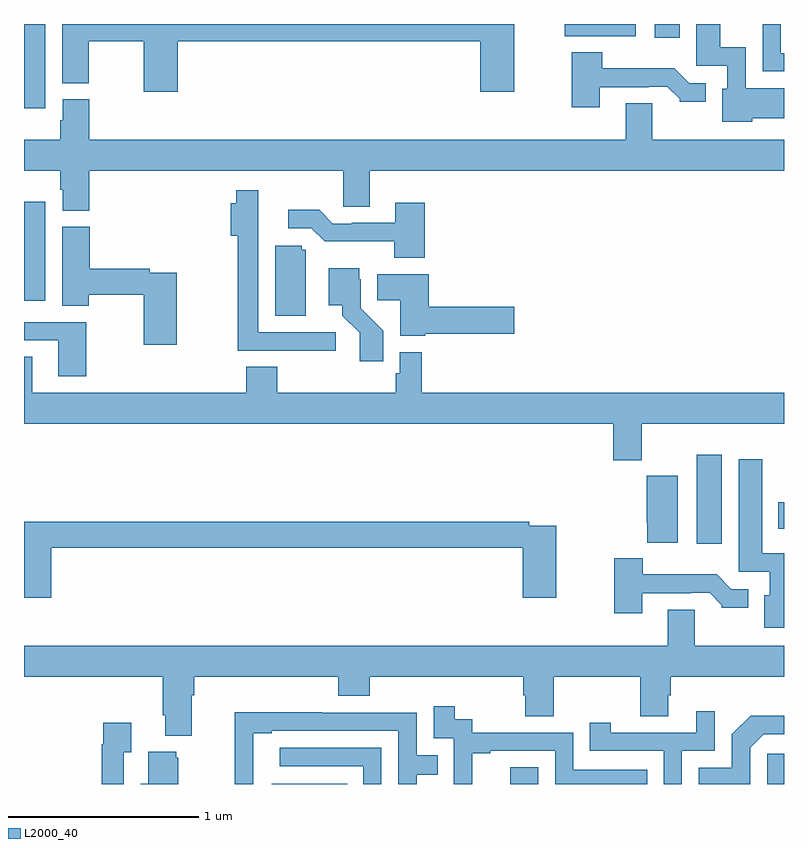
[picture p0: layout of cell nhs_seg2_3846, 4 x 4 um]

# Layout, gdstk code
import gdstk
lib = gdstk.Library(unit=1e-6, precision=1e-09)
def R(c, l, rs):  # rectangles x0, y0, x1, y1
    for r in rs: c.add(gdstk.rectangle(r[:2], r[2:], *l))
def P(c, l, *ps):  # polygons
    for p in ps: c.add(gdstk.Polygon(p, *l))
L2000_40 = (2000, 40)

nhs_seg2_3846 = lib.new_cell('nhs_seg2_3846')
R(nhs_seg2_3846, L2000_40, [(316.304,585.8,316.7,585.802), (317.559,585.8,317.706,585.889), (318.912,585.8,319,585.958), (318.542,587.064,318.673,587.533), (318.971,587.144,319,587.284), (315,588.344,315.112,588.865), (315,589.356,315.112,589.8), (318.32,589.728,318.451,589.8), (317.847,589.736,318.22,589.8)])
P(nhs_seg2_3846, L2000_40, [(315.809,589.708),(317.402,589.708),(317.402,589.443),(317.58,589.443),(317.58,589.8),(315.2,589.8),(315.2,589.489),(315.342,589.489),(315.342,589.708),(315.631,589.708),(315.631,589.443),(315.809,589.443)],
  [(318.834,589.304),(319,589.304),(319,589.462),(318.798,589.462),(318.798,589.678),(318.664,589.678),(318.664,589.8),(318.539,589.8),(318.539,589.581),(318.702,589.581),(318.702,589.458),(318.674,589.458),(318.674,589.286),(318.834,589.286)],
  [(319,589.647),(318.984,589.647),(318.984,589.8),(318.888,589.8),(318.888,589.551),(319,589.551)],
  [(318.031,589.467),(318.287,589.467),(318.287,589.47),(318.386,589.47),(318.45,589.406),(318.45,589.391),(318.589,589.391),(318.589,589.488),(318.501,589.488),(318.423,589.567),(318.044,589.567),(318.044,589.651),(317.884,589.651),(317.884,589.362),(318.031,589.362)],
  [(315.344,589.028),(316.68,589.028),(316.68,588.838),(316.819,588.838),(316.819,589.028),(319,589.028),(319,589.192),(318.307,589.192),(318.307,589.382),(318.167,589.382),(318.167,589.192),(315.344,589.192),(315.344,589.404),(315.203,589.404),(315.203,589.293),(315.191,589.293),(315.191,589.192),(315,589.192),(315,589.028),(315.191,589.028),(315.191,588.927),(315.203,588.927),(315.203,588.817),(315.344,588.817)],
  [(316.642,588.177),(316.233,588.177),(316.233,588.702),(316.234,588.702),(316.234,588.925),(316.117,588.925),(316.117,588.856),(316.088,588.856),(316.088,588.686),(316.125,588.686),(316.125,588.081),(316.417,588.081),(316.417,588.079),(316.642,588.079)],
  [(317.108,588.859),(316.955,588.859),(316.955,588.753),(316.726,588.753),(316.726,588.75),(316.626,588.75),(316.553,588.823),(316.392,588.823),(316.392,588.726),(316.512,588.726),(316.583,588.656),(316.948,588.656),(316.948,588.569),(317.108,588.569)],
  [(315.804,588.492),(315.662,588.492),(315.662,588.512),(315.347,588.512),(315.347,588.732),(315.2,588.732),(315.2,588.316),(315.342,588.316),(315.342,588.376),(315.631,588.376),(315.631,588.111),(315.804,588.111)],
  [(316.483,588.612),(316.461,588.612),(316.461,588.633),(316.322,588.633),(316.322,588.264),(316.483,588.264)],
  [(316.892,588.186),(316.773,588.305),(316.773,588.456),(316.765,588.456),(316.765,588.514),(316.604,588.514),(316.604,588.32),(316.676,588.32),(316.676,588.265),(316.767,588.175),(316.767,588.024),(316.892,588.024)],
  [(317.112,588.169),(317.581,588.169),(317.581,588.311),(317.129,588.311),(317.129,588.484),(316.858,588.484),(316.858,588.346),(316.979,588.346),(316.979,588.158),(317.112,588.158)],
  [(315.327,588.231),(315,588.231),(315,588.135),(315.179,588.135),(315.179,587.946),(315.327,587.946)],
  [(318.251,587.696),(319,587.696),(319,587.86),(317.093,587.86),(317.093,588.073),(316.977,588.073),(316.977,587.961),(316.957,587.961),(316.957,587.86),(316.334,587.86),(316.334,587.996),(316.169,587.996),(316.169,587.86),(315.043,587.86),(315.043,588.05),(315,588.05),(315,587.696),(318.101,587.696),(318.101,587.504),(318.251,587.504)],
  [(319,587.014),(318.886,587.014),(318.886,587.509),(318.761,587.509),(318.761,586.917),(318.924,586.917),(318.924,586.794),(318.896,586.794),(318.896,586.622),(319,586.622)],
  [(318.442,587.422),(318.278,587.422),(318.278,587.176),(318.28,587.176),(318.28,587.069),(318.442,587.069)],
  [(315.143,587.044),(317.624,587.044),(317.624,586.779),(317.802,586.779),(317.802,587.16),(317.66,587.16),(317.66,587.18),(315,587.18),(315,586.779),(315.143,586.779)],
  [(318.253,586.803),(318.509,586.803),(318.509,586.806),(318.608,586.806),(318.672,586.742),(318.672,586.727),(318.811,586.727),(318.811,586.824),(318.723,586.824),(318.645,586.903),(318.256,586.903),(318.256,586.987),(318.106,586.987),(318.106,586.698),(318.253,586.698)],
  [(315,586.364),(315.731,586.364),(315.731,586.162),(315.743,586.162),(315.743,586.055),(315.883,586.055),(315.883,586.268),(315.896,586.268),(315.896,586.364),(316.655,586.364),(316.655,586.265),(316.82,586.265),(316.82,586.364),(317.627,586.364),(317.627,586.266),(317.639,586.266),(317.639,586.156),(317.787,586.156),(317.787,586.364),(318.244,586.364),(318.244,586.156),(318.391,586.156),(318.391,586.266),(318.404,586.266),(318.404,586.364),(319,586.364),(319,586.528),(318.529,586.528),(318.529,586.718),(318.389,586.718),(318.389,586.528),(315,586.528)],
  [(317.36,585.963),(317.455,585.963),(317.455,585.975),(317.796,585.975),(317.796,585.8),(318.281,585.8),(318.281,585.876),(317.892,585.876),(317.892,586.071),(317.358,586.071),(317.358,586.14),(317.266,586.14),(317.266,586.21),(317.157,586.21),(317.157,586.041),(317.262,586.041),(317.262,585.812),(317.261,585.812),(317.261,585.8),(317.36,585.8)],
  [(318.462,585.975),(318.636,585.975),(318.636,586.183),(318.539,586.183),(318.539,586.071),(318.088,586.071),(318.088,586.123),(317.977,586.123),(317.977,585.975),(318.366,585.975),(318.366,585.8),(318.462,585.8)],
  [(316.206,586.068),(316.303,586.068),(316.303,586.08),(316.971,586.08),(316.971,585.8),(317.067,585.8),(317.067,585.85),(317.177,585.85),(317.177,585.951),(317.067,585.951),(317.067,586.176),(316.571,586.176),(316.571,586.178),(316.108,586.178),(316.108,585.871),(316.11,585.871),(316.11,585.8),(316.206,585.8)],
  [(318.822,585.99),(318.894,586.062),(319,586.062),(319,586.16),(318.824,586.16),(318.726,586.062),(318.726,585.885),(318.552,585.885),(318.552,585.8),(318.822,585.8)],
  [(315.525,585.967),(315.565,585.967),(315.565,586.123),(315.417,586.123),(315.417,586.01),(315.409,586.01),(315.409,585.8),(315.525,585.8)],
  [(316.881,585.99),(316.347,585.99),(316.347,585.894),(316.785,585.894),(316.785,585.8),(316.881,585.8)],
  [(315.811,585.939),(315.8,585.939),(315.8,585.97),(315.653,585.97),(315.653,585.802),(315.614,585.802),(315.614,585.8),(315.811,585.8)])

lib.write_gds('nhs_seg2_3846.gds')
